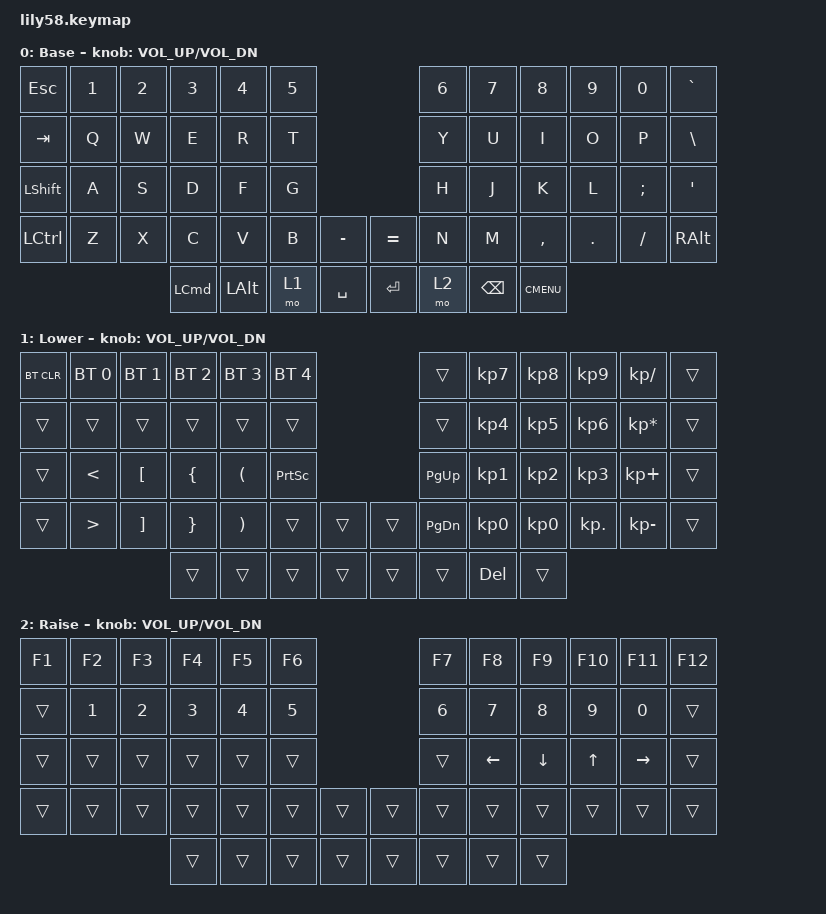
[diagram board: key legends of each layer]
/*
 * Copyright (c) 2020 The ZMK Contributors
 *
 * SPDX-License-Identifier: MIT
 */

#include <behaviors.dtsi>
#include <dt-bindings/zmk/keys.h>
#include <dt-bindings/zmk/bt.h>
#include <dt-bindings/zmk/outputs.h>
#include <dt-bindings/zmk/ext_power.h>

/ {
//    macros {
//        search: search {
//            compatible = "zmk, behavior-macro";
//            #binding-cells = <0>;
//            bindings =  <&macro_press &kp LCTRL &kp LALT>, 
//                        <&macro_tap &kp SPACE>,
//                        <&macro_release &kp LCTRL &kp LALT>;
//        };
//    };
    keymap {
        compatible = "zmk,keymap";

        default_layer {
// ------------------------------------------------------------------------------------------------------------
// |  ESC  |  1  |  2  |  3   |  4   |  5   |                   |  6   |  7    |  8    |  9   |   0   |   `   |
// |  TAB  |  Q  |  W  |  E   |  R   |  T   |                   |  Y   |  U    |  I    |  O   |   P   |   \   |
// | SHIFT |  A  |  S  |  D   |  F   |  G   |                   |  H   |  J    |  K    |  L   |   ;   |   '   |
// | CTRL  |  Z  |  X  |  C   |  V   |  B   |    -   |  |   =   |  N   |  M    |  ,    |  .   |   /   |  ALT  |
//                     | CMD  | ALT  | LOWER|  SPACE |  | ENTER | RAISE| BSPC  | CMENU |
            display-name = "Base";
            bindings = <
&kp ESC   &kp N1 &kp N2 &kp N3   &kp N4     &kp N5                        &kp N6 &kp N7   &kp N8    &kp N9  &kp N0   &kp GRAVE
&kp TAB   &kp Q  &kp W  &kp E    &kp R      &kp T                         &kp Y  &kp U    &kp I     &kp O   &kp P    &kp BSLH
&kp LSHFT &kp A  &kp S  &kp D    &kp F      &kp G                         &kp H  &kp J    &kp K     &kp L   &kp SEMI &kp SQT
&kp LCTRL &kp Z  &kp X  &kp C    &kp V      &kp B  &kp MINUS  &kp EQUAL   &kp N  &kp M    &kp COMMA &kp DOT &kp FSLH &kp RALT
                        &kp LCMD &kp LALT   &mo 1  &kp SPACE  &kp RET     &mo 2  &kp BSPC &kp K_CMENU
            >;

            sensor-bindings = <&inc_dec_kp C_VOL_UP C_VOL_DN>;
        };

        lower_layer {
// ------------------------------------------------------------------------------------------------------------
// | BTCLR | BT1 | BT2 | BT3 |  BT4 |  BT5 |                   |      |   7   |   8   |   9   |   /   |       |
// |       |     |     |     |      |      |                   |      |   4   |   5   |   6   |   *   |       |
// |       |  <  | "[" | "{" |  "(" |PSCRN |                   | PGUP |   1   |   2   |   3   |   +   |       |
// |       |  >  | "]" | "}" |  ")" |      |        |  |       | PGDN |   0   |   0   |   .   |   -   |       |
//                     |     |      |      |        |  |       |      |  DEL  |       |
            display-name = "Lower";
            bindings = <
&bt BT_CLR  &bt BT_SEL 0    &bt BT_SEL 1    &bt BT_SEL 2    &bt BT_SEL 3    &bt BT_SEL 4                 &trans       &kp KP_N7    &kp KP_N8    &kp KP_N9     &kp KP_DIVIDE   &trans
&trans      &trans          &trans          &trans          &trans          &trans                       &trans       &kp KP_N4    &kp KP_N5    &kp KP_N6     &kp KP_MULTIPLY &trans
&trans      &kp LT          &kp LBKT        &kp LBRC        &kp LPAR        &kp PSCRN                    &kp PG_UP    &kp KP_N1    &kp KP_N2    &kp KP_N3     &kp KP_PLUS     &trans
&trans      &kp GT          &kp RBKT        &kp RBRC        &kp RPAR        &trans      &trans   &trans  &kp PG_DN    &kp KP_N0    &kp KP_N0    &kp KP_DOT    &kp KP_MINUS    &trans
                                            &trans          &trans          &trans      &trans   &trans  &trans       &kp DEL      &trans
            >;

            sensor-bindings = <&inc_dec_kp C_VOL_UP C_VOL_DN>;
        };

        raise_layer {
// ------------------------------------------------------------------------------------------------------------
// |  F1  |  F2  |  F3  |  F4  |  F5  |  F6  |                   |  F7  |  F8  |  F9  |  F10 |  F11 |  F12 |
// |      |  1   |  2   |  3   |  4   |  5   |                   |  6   |  7   |  8   |  9   |  0   |      |
// |      |      |      |      |      |      |                   |      |  ←   |  ↓   |  ↑   |  →   |      |
// |      |      |      |      |      |      |        |  |       |      |      |      |      |      |      |
//                      |      |      |      |        |  |       |      |      |      |
            display-name = "Raise";
            bindings = <
&kp F1  &kp F2  &kp F3  &kp F4  &kp F5  &kp F6                      &kp F7      &kp F8      &kp F9      &kp F10     &kp F11     &kp F12
&trans  &kp N1  &kp N2  &kp N3  &kp N4  &kp N5                      &kp N6      &kp N7      &kp N8      &kp N9      &kp N0      &trans
&trans  &trans  &trans  &trans  &trans  &trans                      &trans      &kp LEFT    &kp DOWN    &kp UP      &kp RIGHT   &trans
&trans  &trans  &trans  &trans  &trans  &trans    &trans   &trans   &trans      &trans      &trans      &trans      &trans      &trans
                        &trans  &trans  &trans    &trans   &trans   &trans      &trans      &trans
            >;

            sensor-bindings = <&inc_dec_kp C_VOL_UP C_VOL_DN>;
        };
    };
};
